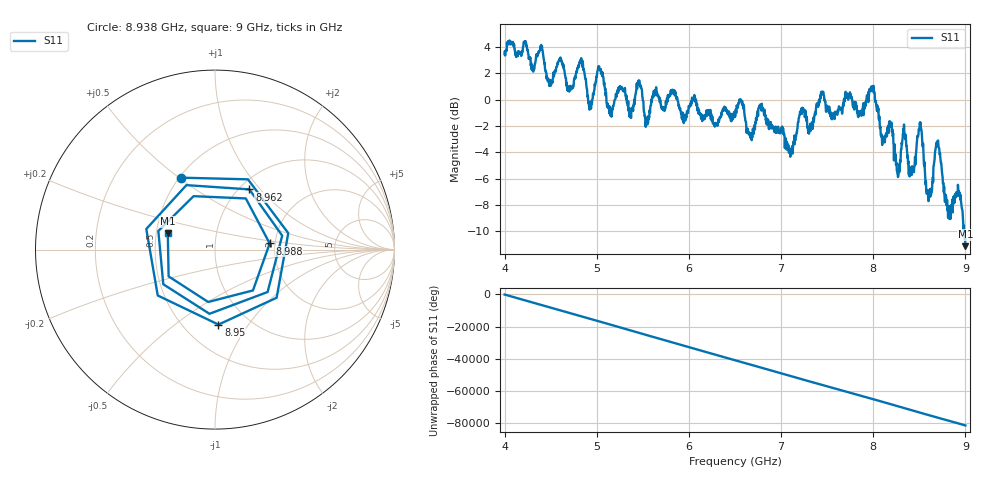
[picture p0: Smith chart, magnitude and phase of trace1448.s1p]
! Created with skrf 1.8.0 (http://scikit-rf.org).
# Hz S RI R 50.0
!freq ReS11 ImS11
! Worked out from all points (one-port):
!   1601 points, 4 GHz to 9 GHz, reference 50 ohm
!   lowest |S11| = -11.1 dB at 9 GHz (marker M1), VSWR 1.77, Z = 28.8 + j5.64 ohm
!   |S11| at or under -10 dB: 8.986489 GHz to end of sweep
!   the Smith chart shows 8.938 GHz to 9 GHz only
!   S11 on the Smith chart (normalised r, x): 8.938 GHz: 0.51, +0.51; 8.95 GHz: 0.73, -0.74; 8.962 GHz: 1.11, +0.88; 8.988 GHz: 1.87, +0.14; 9 GHz: 0.58, +0.11
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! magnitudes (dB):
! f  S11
! 4 GHz  3.5
! 4.625 GHz  2.7
! 4.703 GHz  0.6
! 4.838 GHz  2.9
! 4.931 GHz  -0.7
! 5.028 GHz  2.4
! 5.147 GHz  -0.9
! 5.25 GHz  1.0
! 5.466 GHz  1.2
! 5.544 GHz  -1.8
! 5.875 GHz  0.1
! 6.5 GHz  -1.2
! 7.125 GHz  -4.1
! 7.228 GHz  -0.9
! 7.75 GHz  0.4
! 7.991 GHz  0.8
! 8.262 GHz  -5.6
! 8.331 GHz  -2.5
! 8.375 GHz  -4.3
! 8.503 GHz  -2.0
! 8.6 GHz  -7.7
! 8.694 GHz  -3.4
! 8.816 GHz  -8.1
! 8.938 GHz  -7.1
! 8.95 GHz  -7.6
! 8.962 GHz  -8.3
! 8.988 GHz  -10.3
! 9 GHz  -11.1
